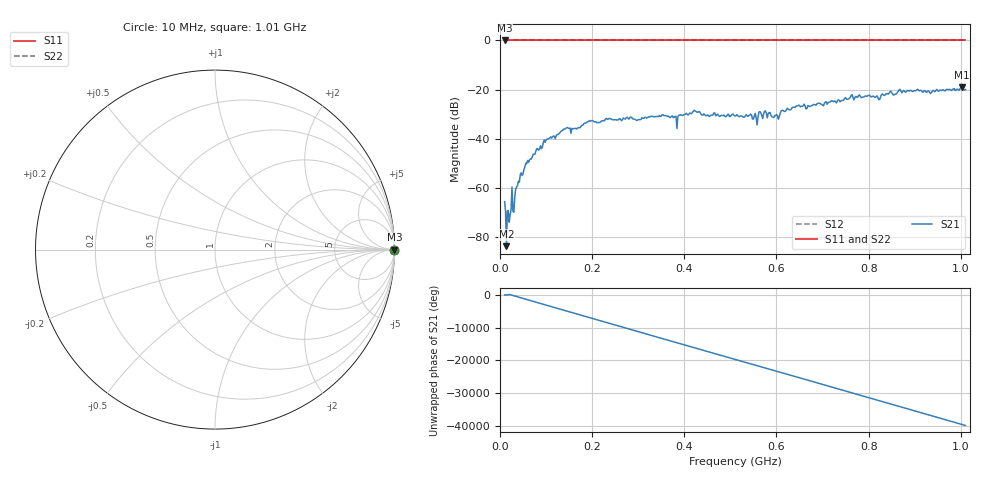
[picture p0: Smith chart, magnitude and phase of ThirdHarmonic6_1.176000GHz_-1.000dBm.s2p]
! 8/16/2025 11:58:06 AM
! C:\ANRITSUVNA\TEMP\TEMP.S2P
! CHANNEL.1
! TR.MEASUREMENT
! RAW.DATA
! RF.CORRECTION.OFF
! AVERAGING.OFF
! IF.BANDWIDTH: 5KHZ
! SWEEPTYPE:  FREQ.SWEEP(Linear)
! Reference Plane Port Info
! PORT:  PORT1  PORT2
! DISTANCE:  0  m  0  m
! TIME:  0  s  0  s
! PHASE.OFFSET:  0  deg.  0  deg.
! LOSS:  0  dB  0  dB
! REF.LOSS:  0  dB  0  dB
! REF.FREQ:  0  Hz  0  Hz
! Power Info
! POWER:  -20  dBm  -20  dBm
! EFF.POWER:  -20  dBm  -20  dBm
! SOURCE.ATTEN:  0  dB  0  dB
! TEST.ATTEN:  0  dB  0  dB
# GHZ S RI R 50.0
! FREQ.GHZ  S11RE  S11IM  S21RE  S21IM  S12RE  S12IM  S22RE  S22IM
!; PortSelection: Port_12
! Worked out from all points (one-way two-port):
!   501 points, 10 MHz to 1.01 GHz, reference 50 ohm
!   highest |S21| = -19.10 dB at 1.002 GHz (marker M1); lowest = -83.6 dB at 14 MHz (marker M2)
!   lowest |S11| = 0.0 dB at 10 MHz (marker M3)
!   |S11| at or under -10 dB: nowhere
!   |S22| runs from 0.0 to 0.0 dB; largest |S21 - S12| = 1.1
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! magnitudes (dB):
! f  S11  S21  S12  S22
! 10 MHz  0.0  -65.5  0.0  0.0
! 14 MHz  0.0  -83.6  0.0  0.0
! 18 MHz  0.0  -69.1  0.0  0.0
! 22 MHz  0.0  -71.0  0.0  0.0
! 32 MHz  0.0  -63.8  0.0  0.0
! 42 MHz  0.0  -57.6  0.0  0.0
! 56 MHz  0.0  -49.9  0.0  0.0
! 76 MHz  0.0  -46.2  0.0  0.0
! 98 MHz  0.0  -41.5  0.0  0.0
! 142 MHz  0.0  -35.8  0.0  0.0
! 178 MHz  0.0  -34.5  0.0  0.0
! 198 MHz  0.0  -32.7  0.0  0.0
! 344 MHz  0.0  -30.9  0.0  0.0
! 380 MHz  0.0  -30.8  0.0  0.0
! 422 MHz  0.0  -28.4  0.0  0.0
! 510 MHz  0.0  -30.8  0.0  0.0
! 602 MHz  0.0  -30.4  0.0  0.0
! 646 MHz  0.0  -26.6  0.0  0.0
! 678 MHz  0.0  -26.3  0.0  0.0
! 844 MHz  0.0  -21.6  0.0  0.0
! 1.002 GHz  0.0  -19.1  0.0  0.0
! 1.01 GHz  0.0  -19.9  0.0  0.0
